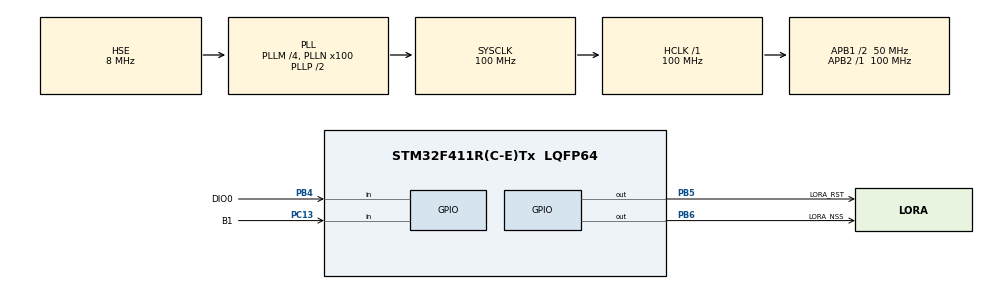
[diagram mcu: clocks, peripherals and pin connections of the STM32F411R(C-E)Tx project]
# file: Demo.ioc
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Mcu.Family=STM32F4
Mcu.Name=STM32F411R(C-E)Tx
Mcu.Package=LQFP64
NVIC.PriorityGroup=NVIC_PRIORITYGROUP_4
PA13.Mode=Serial_Wire
PA13.Signal=SYS_JTMS-SWDIO
PA14.Mode=Serial_Wire
PA14.Signal=SYS_JTCK-SWCLK
PA2.Signal=USART2_TX
PA3.Signal=USART2_RX
PA5.Signal=SPI1_SCK
PA6.Signal=SPI1_MISO
PA7.Signal=SPI1_MOSI
PB4.GPIO_Label=DIO0
PB4.Signal=GPIO_Input
PB5.GPIO_Label=LORA_RST
PB5.PinState=GPIO_PIN_SET
PB5.Signal=GPIO_Output
PB6.GPIO_Label=LORA_NSS
PB6.PinState=GPIO_PIN_SET
PB6.Signal=GPIO_Output
PB8.Signal=I2C1_SCL
PB9.Signal=I2C1_SDA
PC13-ANTI_TAMP.GPIO_Label=B1
PC13-ANTI_TAMP.GPIO_PuPd=GPIO_PULLUP
PC13-ANTI_TAMP.Signal=GPIO_Input
PH0\ -\ OSC_IN.Mode=HSE-External-Clock-Source
PH0\ -\ OSC_IN.Signal=RCC_OSC_IN
ProjectManager.HeapSize=0x200
ProjectManager.StackSize=0x400
ProjectManager.TargetToolchain=MDK-ARM V5.32
RCC.48MHZClocksFreq_Value=50000000
RCC.AHBFreq_Value=100000000
RCC.APB1CLKDivider=RCC_HCLK_DIV2
RCC.APB1Freq_Value=50000000
RCC.APB1TimFreq_Value=100000000
RCC.APB2Freq_Value=100000000
RCC.APB2TimFreq_Value=100000000
RCC.CortexFreq_Value=100000000
RCC.HCLKFreq_Value=100000000
RCC.HSE_VALUE=8000000
RCC.HSI_VALUE=16000000
RCC.LSE_VALUE=32768
RCC.PLLM=4
RCC.PLLN=100
RCC.PLLP=RCC_PLLP_DIV2
RCC.PLLQ=4
RCC.PLLSourceVirtual=RCC_PLLSOURCE_HSE
RCC.SYSCLKFreq_VALUE=100000000
RCC.SYSCLKSource=RCC_SYSCLKSOURCE_PLLCLK
RCC.VCOOutputFreq_Value=200000000
board=custom

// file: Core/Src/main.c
/* USER CODE BEGIN Header */
/**
  ******************************************************************************
  * @file           : main.c
  * @brief          : Main program body
  ******************************************************************************
  * @attention
  *
  * Copyright (c) 2026 STMicroelectronics.
  * All rights reserved.
  *
  * This software is licensed under terms that can be found in the LICENSE file
  * in the root directory of this software component.
  * If no LICENSE file comes with this software, it is provided AS-IS.
  *
  ******************************************************************************
  */
/* USER CODE END Header */
#include "main.h"

/* USER CODE BEGIN Includes */
#include <stdio.h>
#include <string.h>
#include <stdlib.h>
#include "airtune_infer.h"
#include "ina226.h"
#include "lora_sx1278.h"
/* USER CODE END Includes */

/* USER CODE BEGIN PV */
UART_HandleTypeDef huart2;
I2C_HandleTypeDef hi2c1;
SPI_HandleTypeDef hspi1;
/* USART2/I2C1/SPI1 均由 CubeMX 生成的 HAL 驱动初始化（见自动生成的 MX_USART2_UART_Init 等），
   句柄 huart2 由 CubeMX 在自动段声明，本段只放用户私有变量。 */

/* ---- 可调全局参数：串口 CLI 用 set 命令修改的就是 g_params ---- */
typedef struct {
  int tx_power;     /* LoRa 发射功率 dBm，范围 2..20 */
  int sf;           /* 扩频因子，范围 7..12 */
  int bw;           /* 带宽 kHz：125 / 250 / 500 */
  int heartbeat_ms; /* 心跳打印周期(ms)，最小 100 */
  float threshold;  /* TinyML 异常检测阈值 */
  int shunt_mohm;   /* INA226 采样电阻毫欧值：模块丝印 R010=10 / R100=100 */
} params_t;
params_t g_params = {17, 7, 125, 1000, 0.85f, 10};

#define LORA_RX_PRINT_MAX 65   /* lora recv 打印缓冲（64 载荷 + NUL） */

/* CLI 行缓冲（非阻塞轮询用） */
static char cli_line[64];
static int cli_len = 0;
static uint32_t cli_last_char_ms = 0;   /* 最近一次收到字符的时间，用于空闲超时执行 */
static uint32_t cli_last_alive = 0;

/* AirTune 演示样本：4 个典型链路工况（归一化特征），bench/infer 用 */
static const float at_demo_x[4][AT_IN] = {
  { 0.6f, 0.6f,-0.5f,-0.2f, 0.5f,-0.1f, 0.7f, 0.7f, 0.0f,-0.5f},
  { 0.1f, 0.1f,-0.1f, 0.0f, 0.1f, 0.2f,-0.1f, 0.1f, 0.0f,-0.1f},
  {-0.2f,-0.1f, 0.1f, 0.1f, 0.2f, 0.4f,-0.2f,-0.2f, 0.0f,-0.2f},
  {-0.7f,-0.6f, 0.6f, 0.3f,-0.6f, 0.3f,-0.6f,-0.6f, 0.0f,-0.6f},
};
static const char *at_mode_name[4] = {
  "SF7/BW500 (fast)", "SF7/BW125 (balanced)", "SF10/BW125 (mid)", "SF12/BW125 (far)"
};
/* USER CODE END PV */

void SystemClock_Config(void);
static void MX_GPIO_Init(void);
/* USER CODE BEGIN PFP */
void MX_USART2_UART_Init(void);
void MX_I2C1_Init(void);
void MX_SPI1_Init(void);

void cli_poll(void);
void cli_process(char *line);

void DWT_Init(void);
void DWT_Reset(void);
uint32_t DWT_GetCycles(void);
/* USER CODE END PFP */

int main(void)
{

  /* MCU Configuration--------------------------------------------------------*/

  /* Reset of all peripherals, Initializes the Flash interface and the Systick. */
  HAL_Init();

  /* Configure the system clock */
  SystemClock_Config();

  /* Initialize all configured peripherals */
  MX_GPIO_Init();
  /* USER CODE BEGIN 2 */
MX_I2C1_Init();     /* I2C1: PB8/PB9 -> INA226 */
  MX_SPI1_Init();    /* SPI1: PA5/6/7 -> LoRa Ra-02 */
  MX_USART2_UART_Init();
  printf("[BOOT] HCLK=%lu PCLK1=%lu PCLK2=%lu\r\n",
         HAL_RCC_GetHCLKFreq(), HAL_RCC_GetPCLK1Freq(), HAL_RCC_GetPCLK2Freq());

  DWT_Init();   /* AIRTUNE_ML: 使能 DWT CYCCNT */
  if (ina226_init() == 0)
    printf("[BOOT] INA226 OK on I2C1 @0x%02X (man=TI die=0x2260)\r\n", ina226_addr());
  else
    printf("[BOOT] INA226 NOT found on I2C1: run 'i2cscan'; check SCL=PB8 SDA=PB9 VCC=3V3\r\n");
  if (lora_init() == 0x12)
    printf("[BOOT] LoRa SX1278 OK: ver=0x12 %.1fMHz sf7 bw125 17dBm (type 'lora status')\r\n",
           lora_info()->freq_mhz);
  else
    printf("[BOOT] LoRa SX1278 not found: RegVersion=0x%02X (expect 0x12) check SPI1 wiring (PA5/6/7, NSS=PB6, RST=PB5)\r\n",
           lora_info()->version);
/* USER CODE END 2 */

  /* Infinite loop */
  while (1)
  {

    /* USER CODE BEGIN 3 */
    cli_poll();   /* 非阻塞读串口：收到回车即解析命令，不阻塞主循环 */

    /* 心跳：按 g_params.heartbeat_ms 周期打印（不再用 HAL_Delay 阻塞，CLI 才能实时响应） */
    if (HAL_GetTick() - cli_last_alive >= (uint32_t)g_params.heartbeat_ms)
    {
      cli_last_alive = HAL_GetTick();
      HAL_GPIO_TogglePin(LORA_NSS_GPIO_Port, LORA_NSS_Pin);
      printf("[ALIVE] tick=%lu HCLK=%lu hb=%dms tx=%ddBm sf=%d th=%.2f\r\n",
             HAL_GetTick(), HAL_RCC_GetHCLKFreq(),
             g_params.heartbeat_ms, g_params.tx_power, g_params.sf,
             (double)g_params.threshold);
    }
/* USER CODE END 3 */
  }
  /* USER CODE END 3 */
}

void SystemClock_Config(void)
{
  RCC_OscInitTypeDef RCC_OscInitStruct = {0};
  RCC_ClkInitTypeDef RCC_ClkInitStruct = {0};

  /** Configure the main internal regulator output voltage
  */
  __HAL_RCC_PWR_CLK_ENABLE();
  __HAL_PWR_VOLTAGESCALING_CONFIG(PWR_REGULATOR_VOLTAGE_SCALE1);

  /** Initializes the RCC Oscillators according to the specified parameters
  * in the RCC_OscInitTypeDef structure.
  */
  RCC_OscInitStruct.OscillatorType = RCC_OSCILLATORTYPE_HSE;
  RCC_OscInitStruct.HSEState = RCC_HSE_BYPASS;
  RCC_OscInitStruct.PLL.PLLState = RCC_PLL_ON;
  RCC_OscInitStruct.PLL.PLLSource = RCC_PLLSOURCE_HSE;
  RCC_OscInitStruct.PLL.PLLM = 4;
  RCC_OscInitStruct.PLL.PLLN = 100;
  RCC_OscInitStruct.PLL.PLLP = RCC_PLLP_DIV2;
  RCC_OscInitStruct.PLL.PLLQ = 4;
  if (HAL_RCC_OscConfig(&RCC_OscInitStruct) != HAL_OK)
  {
    Error_Handler();
  }

  /** Initializes the CPU, AHB and APB buses clocks
  */
  RCC_ClkInitStruct.ClockType = RCC_CLOCKTYPE_HCLK|RCC_CLOCKTYPE_SYSCLK
                              |RCC_CLOCKTYPE_PCLK1|RCC_CLOCKTYPE_PCLK2;
  RCC_ClkInitStruct.SYSCLKSource = RCC_SYSCLKSOURCE_PLLCLK;
  RCC_ClkInitStruct.AHBCLKDivider = RCC_SYSCLK_DIV1;
  RCC_ClkInitStruct.APB1CLKDivider = RCC_HCLK_DIV2;
  RCC_ClkInitStruct.APB2CLKDivider = RCC_HCLK_DIV1;

  if (HAL_RCC_ClockConfig(&RCC_ClkInitStruct, FLASH_LATENCY_3) != HAL_OK)
  {
    Error_Handler();
  }
}

static void MX_GPIO_Init(void)
{
  GPIO_InitTypeDef GPIO_InitStruct = {0};

  /* GPIO Ports Clock Enable */
  __HAL_RCC_GPIOC_CLK_ENABLE();
  __HAL_RCC_GPIOH_CLK_ENABLE();
  __HAL_RCC_GPIOA_CLK_ENABLE();
  __HAL_RCC_GPIOB_CLK_ENABLE();

  /*Configure GPIO pin Output Level */
  HAL_GPIO_WritePin(GPIOB, LORA_RST_Pin|LORA_NSS_Pin, GPIO_PIN_SET);

  /*Configure GPIO pin : B1_Pin */
  GPIO_InitStruct.Pin = B1_Pin;
  GPIO_InitStruct.Mode = GPIO_MODE_INPUT;
  GPIO_InitStruct.Pull = GPIO_PULLUP;
  HAL_GPIO_Init(B1_GPIO_Port, &GPIO_InitStruct);

  /*Configure GPIO pins : PA2 PA3 */
  GPIO_InitStruct.Pin = GPIO_PIN_2|GPIO_PIN_3;
  GPIO_InitStruct.Mode = GPIO_MODE_AF_PP;
  GPIO_InitStruct.Pull = GPIO_NOPULL;
  GPIO_InitStruct.Speed = GPIO_SPEED_FREQ_VERY_HIGH;
  GPIO_InitStruct.Alternate = GPIO_AF7_USART2;
  HAL_GPIO_Init(GPIOA, &GPIO_InitStruct);

  /*Configure GPIO pins : PA5 PA6 PA7 */
  GPIO_InitStruct.Pin = GPIO_PIN_5|GPIO_PIN_6|GPIO_PIN_7;
  GPIO_InitStruct.Mode = GPIO_MODE_AF_PP;
  GPIO_InitStruct.Pull = GPIO_NOPULL;
  GPIO_InitStruct.Speed = GPIO_SPEED_FREQ_VERY_HIGH;
  GPIO_InitStruct.Alternate = GPIO_AF5_SPI1;
  HAL_GPIO_Init(GPIOA, &GPIO_InitStruct);

  /*Configure GPIO pin : DIO0_Pin */
  GPIO_InitStruct.Pin = DIO0_Pin;
  GPIO_InitStruct.Mode = GPIO_MODE_INPUT;
  GPIO_InitStruct.Pull = GPIO_NOPULL;
  HAL_GPIO_Init(DIO0_GPIO_Port, &GPIO_InitStruct);

  /*Configure GPIO pins : LORA_RST_Pin LORA_NSS_Pin */
  GPIO_InitStruct.Pin = LORA_RST_Pin|LORA_NSS_Pin;
  GPIO_InitStruct.Mode = GPIO_MODE_OUTPUT_PP;
  GPIO_InitStruct.Pull = GPIO_NOPULL;
  GPIO_InitStruct.Speed = GPIO_SPEED_FREQ_LOW;
  HAL_GPIO_Init(GPIOB, &GPIO_InitStruct);

  /*Configure GPIO pins : PB8 PB9 */
  GPIO_InitStruct.Pin = GPIO_PIN_8|GPIO_PIN_9;
  GPIO_InitStruct.Mode = GPIO_MODE_AF_OD;
  GPIO_InitStruct.Pull = GPIO_NOPULL;
  GPIO_InitStruct.Speed = GPIO_SPEED_FREQ_VERY_HIGH;
  GPIO_InitStruct.Alternate = GPIO_AF4_I2C1;
  HAL_GPIO_Init(GPIOB, &GPIO_InitStruct);

}

/* USER CODE BEGIN 4 */
void MX_USART2_UART_Init(void)
{
  __HAL_RCC_USART2_CLK_ENABLE();
  huart2.Instance = USART2;
  huart2.Init.BaudRate = 115200;
  huart2.Init.WordLength = UART_WORDLENGTH_8B;
  huart2.Init.StopBits = UART_STOPBITS_1;
  huart2.Init.Parity = UART_PARITY_NONE;
  huart2.Init.Mode = UART_MODE_TX_RX;
  huart2.Init.HwFlowCtl = UART_HWCONTROL_NONE;
  huart2.Init.OverSampling = UART_OVERSAMPLING_16;
  if (HAL_UART_Init(&huart2) != HAL_OK)
  {
    Error_Handler();
  }
}

void MX_I2C1_Init(void)
{
  __HAL_RCC_I2C1_CLK_ENABLE();
  hi2c1.Instance = I2C1;
  hi2c1.Init.ClockSpeed = 100000;
  hi2c1.Init.DutyCycle = I2C_DUTYCYCLE_2;
  hi2c1.Init.OwnAddress1 = 0;
  hi2c1.Init.AddressingMode = I2C_ADDRESSINGMODE_7BIT;
  hi2c1.Init.DualAddressMode = I2C_DUALADDRESS_DISABLE;
  hi2c1.Init.OwnAddress2 = 0;
  hi2c1.Init.GeneralCallMode = I2C_GENERALCALL_DISABLE;
  hi2c1.Init.NoStretchMode = I2C_NOSTRETCH_DISABLE;
  if (HAL_I2C_Init(&hi2c1) != HAL_OK)
  {
    Error_Handler();
  }
}

void MX_SPI1_Init(void)
{
  __HAL_RCC_SPI1_CLK_ENABLE();
  hspi1.Instance = SPI1;
  hspi1.Init.Mode = SPI_MODE_MASTER;
  hspi1.Init.Direction = SPI_DIRECTION_2LINES;
  hspi1.Init.DataSize = SPI_DATASIZE_8BIT;
  hspi1.Init.CLKPolarity = SPI_POLARITY_LOW;
  hspi1.Init.CLKPhase = SPI_PHASE_1EDGE;
  hspi1.Init.NSS = SPI_NSS_SOFT;
  hspi1.Init.BaudRatePrescaler = SPI_BAUDRATEPRESCALER_16;
  hspi1.Init.FirstBit = SPI_FIRSTBIT_MSB;
  hspi1.Init.TIMode = SPI_TIMODE_DISABLE;
  hspi1.Init.CRCCalculation = SPI_CRCCALCULATION_DISABLE;
  hspi1.Init.CRCPolynomial = 10;
  if (HAL_SPI_Init(&hspi1) != HAL_OK)
  {
    Error_Handler();
  }
}

/* Keil 下 printf 重定向：需在 Options for Target -> Target 勾选 Use MicroLIB。
   串口已由 CubeMX 生成的 MX_USART2_UART_Init（HAL_UART）初始化，这里直接转发。 */
int fputc(int ch, FILE *f)
{
  (void)f;
  HAL_UART_Transmit(&huart2, (uint8_t *)&ch, 1, HAL_MAX_DELAY);
  return ch;
}

/* ===================== 串口 CLI 框架（begin） ===================== */
/* 非阻塞轮询：每次调一次，有字符就收；收到 \r/\n 才解析整行。
   用 HAL_UART_Receive(...,0) 立即返回，不阻塞主循环。 */
void cli_poll(void)
{
  /* 空闲超时自动执行：串口工具若不发 \r/\n，停止输入 1.5s 后也执行本行 */
  if (cli_len > 0 && (HAL_GetTick() - cli_last_char_ms) >= 1500)
  {
    cli_line[cli_len] = '\0';
    printf("\r\n");
    cli_process(cli_line);
    cli_len = 0;
  }
  uint8_t ch;
  if (HAL_UART_Receive(&huart2, &ch, 1, 0) == HAL_OK)
  {
    if (ch == '\r' || ch == '\n')
    {
      if (cli_len > 0)
      {
        cli_line[cli_len] = '\0';
        printf("\r\n");
        cli_process(cli_line);
        cli_len = 0;
      }
    }
    else if (ch == '\b' || ch == 0x7F)   /* 退格 */
    {
      if (cli_len > 0) { cli_len--; printf("\b \b"); }
    }
    else if (cli_len < (int)sizeof(cli_line) - 1)
    {
      cli_line[cli_len++] = (char)ch;
      cli_last_char_ms = HAL_GetTick();
      printf("%c", ch);   /* 回显，方便看自己输了啥 */
    }
  }
}

/* 命令解析：help / get [name] / set <name> <val> / reboot */
void cli_process(char *line)
{
  char *tok = strtok(line, " ");
  if (tok == NULL) return;

  if (strcmp(tok, "help") == 0)
  {
    printf("Commands:\r\n");
    printf("  help              show this help\r\n");
    printf("  get [name]        print all or one param\r\n");
    printf("  set <name> <val>  change a param (live)\r\n");
    printf("  reboot            reset MCU\r\n");
    printf("  infer [k]         run one AirTune prediction (k=0..3)\r\n");
    printf("  bench             measure inference latency via DWT CYCCNT\r\n");
    printf("  ram               report model Flash KB + stack depth\r\n");
    printf("  log <n> <ms>      stream n CSV telemetry samples (Python capture)\r\n");
    printf("  power             read INA226 Vbus/current/power (one shot)\r\n");
    printf("  pwrlog <n> <ms>   stream n INA226 CSV samples (Python capture)\r\n");
    printf("  i2cscan           scan I2C1 bus for ACKing devices\r\n");
    printf("  i2cpins           read PB8/PB9 pin level (wiring check, no DMM)\r\n");
    printf("  lora init|status|send <text>|recv [ms]|freq <mhz>|apply|regs [s e]\r\n");
    printf("Params: tx_power sf bw heartbeat_ms threshold shunt_mohm\r\n");
  }
  else if (strcmp(tok, "get") == 0)
  {
    char *name = strtok(NULL, " ");
    if (name == NULL)
    {
      printf("tx_power=%d sf=%d bw=%d heartbeat_ms=%d threshold=%.3f shunt_mohm=%d\r\n",
             g_params.tx_power, g_params.sf, g_params.bw,
             g_params.heartbeat_ms, (double)g_params.threshold, g_params.shunt_mohm);
    }
    else if (strcmp(name, "tx_power") == 0)     printf("tx_power=%d\r\n", g_params.tx_power);
    else if (strcmp(name, "sf") == 0)           printf("sf=%d\r\n", g_params.sf);
    else if (strcmp(name, "bw") == 0)           printf("bw=%d\r\n", g_params.bw);
    else if (strcmp(name, "heartbeat_ms") == 0) printf("heartbeat_ms=%d\r\n", g_params.heartbeat_ms);
    else if (strcmp(name, "threshold") == 0)    printf("threshold=%.3f\r\n", (double)g_params.threshold);
    else if (strcmp(name, "shunt_mohm") == 0)   printf("shunt_mohm=%d\r\n", g_params.shunt_mohm);
    else printf("unknown param: %s\r\n", name);
  }
  else if (strcmp(tok, "set") == 0)
  {
    char *name = strtok(NULL, " ");
    char *val  = strtok(NULL, " ");
    if (name == NULL || val == NULL) { printf("usage: set <name> <val>\r\n"); return; }
    int iv = atoi(val);
    float fv = (float)atof(val);
    if (strcmp(name, "tx_power") == 0) {
      if (iv < 2 || iv > 20) printf("tx_power out of range 2..20\r\n");
      else { g_params.tx_power = iv;
             if (lora_is_up()) lora_set_power(iv);
             printf("tx_power=%d%s\r\n", iv, lora_is_up() ? " (radio applied)" : ""); }
    } else if (strcmp(name, "sf") == 0) {
      if (iv < 7 || iv > 12) printf("sf out of range 7..12\r\n");
      else { g_params.sf = iv;
             if (lora_is_up()) lora_set_sf(iv);
             printf("sf=%d%s\r\n", iv, lora_is_up() ? " (radio applied)" : ""); }
    } else if (strcmp(name, "bw") == 0) {
      g_params.bw = iv;
      if (lora_is_up()) lora_set_bw(iv);
      printf("bw=%d%s\r\n", iv, lora_is_up() ? " (radio applied)" : "");
    } else if (strcmp(name, "heartbeat_ms") == 0) {
      if (iv < 100) printf("heartbeat_ms min 100\r\n");
      else { g_params.heartbeat_ms = iv; printf("heartbeat_ms=%d\r\n", iv); }
    } else if (strcmp(name, "threshold") == 0) {
      g_params.threshold = fv; printf("threshold=%.3f\r\n", (double)fv);
    } else if (strcmp(name, "shunt_mohm") == 0) {
      if (iv < 1 || iv > 1000) printf("shunt_mohm out of range 1..1000 (mOhm)\r\n");
      else { g_params.shunt_mohm = iv; ina226_set_shunt_mohm((uint32_t)iv);
             printf("shunt_mohm=%d (CAL rewritten)\r\n", iv); }
    } else {
      printf("unknown param: %s\r\n", name);
    }
  }
  else if (strcmp(tok, "reboot") == 0)
  {
    printf("rebooting...\r\n");
    HAL_Delay(50);
    HAL_NVIC_SystemReset();
  }  else if (strcmp(tok, "infer") == 0)
  {
    char *ks = strtok(NULL, " ");
    int k = 0;
    if (ks) { int v = atoi(ks); if (v >= 0 && v < 4) k = v; }
    int cls; airtune_predict_norm(at_demo_x[k], &cls);
    printf("infer mode%d -> pred=%d %s\r\n", k, cls, at_mode_name[cls]);
  }
  else if (strcmp(tok, "bench") == 0)
  {
    const int N = 200; int cls; uint32_t t0, t1;
    uint32_t best = 0xFFFFFFFFu, worst = 0, sum = 0;
    uint32_t sp_caller = __get_MSP();
    for (int i = 0; i < N; i++) {
      DWT_Reset(); t0 = DWT_GetCycles();
      airtune_predict_norm(at_demo_x[0], &cls);
      t1 = DWT_GetCycles();
      uint32_t dt = t1 - t0; sum += dt; if (dt < best) best = dt; if (dt > worst) worst = dt;
    }
    double hz = (double)SystemCoreClock;
    printf("[BENCH] N=%d min=%lu cyc (%.2f us) avg=%.2f us worst=%.2f us @%.0fMHz\r\n",
           N, best, (double)best/hz*1e6, (double)(sum/N)/hz*1e6, (double)worst/hz*1e6, hz/1e6);
    uint32_t depth = sp_caller - g_at_sp_entry;
    printf("[BENCH] weights Flash=%.2f KB  infer stack=%lu B  (const weights use 0 RAM)\r\n",
           (double)AT_MODEL_FLASH_BYTES/1024.0, depth);
  }
  else if (strcmp(tok, "ram") == 0)
  {
    int cls; uint32_t sp_caller = __get_MSP();
    airtune_predict_norm(at_demo_x[0], &cls);
    uint32_t depth = sp_caller - g_at_sp_entry;
    printf("[RAM] model const(Flash)=%d B (%.2f KB)  infer stack=%lu B  weights RAM=0\r\n",
           (int)AT_MODEL_FLASH_BYTES, (double)AT_MODEL_FLASH_BYTES/1024.0, depth);
    printf("[RAM] weights/bias/scales all const -> in Flash, 0 B RAM at runtime\r\n");
  }
  else if (strcmp(tok, "log") == 0)
  {
    char *ns = strtok(NULL, " ");
    char *ms = strtok(NULL, " ");
    int n = ns ? atoi(ns) : 50;
    int period = ms ? atoi(ms) : 20;
    if (n < 1) n = 1;        if (n > 2000) n = 2000;
    if (period < 1) period = 1;
    printf("LOG_BEGIN %d %d\r\n", n, period);
    for (int i = 0; i < n; i++) {
      float x[AT_IN];
      for (int j = 0; j < AT_IN; j++) x[j] = at_demo_x[i & 3][j];
      int cls;
      DWT_Reset();
      uint32_t t0 = DWT_GetCycles();
      airtune_predict_norm(x, &cls);
      uint32_t cyc = DWT_GetCycles() - t0;
      printf("LOG,%lu,%d,%d,%lu,%d,%d\r\n",
             (unsigned long)HAL_GetTick(), i & 3, cls, (unsigned long)cyc,
             g_params.tx_power, g_params.sf);
      HAL_Delay((uint32_t)period);
    }
    printf("LOG_END\r\n");
  }
  else if (strcmp(tok, "power") == 0)
  {
    ina226_t pwr;
    uint16_t man = 0, die = 0;
    if (ina226_read_all(&pwr) == 0 && ina226_probe(&man, &die) == 0)
    {
      printf("[PWR] INA226@0x%02X man=0x%04X die=0x%04X cfg=0x%04X cal=0x%04X OK\r\n",
             ina226_addr(), man, die, pwr.config, pwr.calib);
      printf("[PWR] Vbus=%ld mV  Vshunt=%ld uV  I=%ld mA  P=%ld mW  (shunt=%d mOhm)\r\n",
             (long)pwr.vbus_mV, (long)pwr.vshunt_uV, (long)pwr.current_mA,
             (long)pwr.power_mW, g_params.shunt_mohm);
    }
    else
    {
      printf("[PWR] INA226 read fail @0x%02X on I2C1: run 'i2cscan'; check SCL=PB8 SDA=PB9 VCC=3V3 GND\r\n", ina226_addr());
    }
  }
  else if (strcmp(tok, "pwrlog") == 0)
  {
    char *ns = strtok(NULL, " ");
    char *ms = strtok(NULL, " ");
    int n = ns ? atoi(ns) : 100;
    int period = ms ? atoi(ms) : 20;
    if (n < 1) n = 1;        if (n > 2000) n = 2000;
    if (period < 1) period = 1;
    printf("PWR_BEGIN %d %d\r\n", n, period);
    for (int i = 0; i < n; i++) {
      ina226_t p;
      if (ina226_read_all(&p) == 0)
        printf("PWR,%lu,%ld,%ld,%ld,%ld\r\n",
               (unsigned long)HAL_GetTick(), (long)p.vbus_mV,
               (long)p.current_mA, (long)p.power_mW, (long)p.vshunt_uV);
      else
        printf("PWR,%lu,-1,-1,-1,-1\r\n", (unsigned long)HAL_GetTick());
      HAL_Delay((uint32_t)period);
    }
    printf("PWR_END\r\n");
  }
  else if (strcmp(tok, "i2cscan") == 0)
  {
    /* 外设健康快照：state=32(0x20)=READY；CR1 bit0=PE 使能；CR2=0x0032 表示 50MHz APB1；BUSY=0 总线空闲 */
    printf("[I2C] state=%d lock=%d CR1=0x%04lX CR2=0x%04lX SR2=0x%04lX BUSY=%d\r\n",
           (int)hi2c1.State, (int)hi2c1.Lock,
           (unsigned long)(hi2c1.Instance->CR1 & 0xFFFFu),
           (unsigned long)(hi2c1.Instance->CR2 & 0xFFFFu),
           (unsigned long)(hi2c1.Instance->SR2 & 0xFFFFu),
           (hi2c1.Instance->SR2 & I2C_SR2_BUSY) ? 1 : 0);
    HAL_I2C_DeInit(&hi2c1);   /* 重初始化，排除启动探测失败留下的锁死状态 */
    HAL_I2C_Init(&hi2c1);
    printf("[I2C] re-init ok, scanning 0x08..0x77 on I2C1 (PB8=SCL PB9=SDA)...\r\n");
    int found = 0;
    for (int a7 = 0x08; a7 <= 0x77; a7++)
    {
      if (HAL_I2C_IsDeviceReady(&hi2c1, (uint16_t)(a7 << 1), 2, 10) == HAL_OK)
      {
        printf("[I2C] ACK @ 0x%02X\r\n", a7);
        found++;
      }
    }
    if (found == 0)
      printf("[I2C] none -> check wiring/power: SDA<->PB9 SCL<->PB8 VCC<->3V3 GND<->GND\r\n");
    else
      printf("[I2C] %d device(s) found\r\n", found);
  }
  else if (strcmp(tok, "lora") == 0)
  {
    char *sub = strtok(NULL, " ");
    if (sub == NULL) {
      printf("usage: lora init|status|send <text>|recv [ms]|freq <mhz>|apply|regs [s e]\r\n");
    } else if (strcmp(sub, "init") == 0) {
      int v = lora_init();
      if (v == 0x12)
        printf("[LORA] SX1278 OK ver=0x12 %.1fMHz sf=%d bw=%d tx=%ddBm\r\n",
               lora_info()->freq_mhz, lora_info()->sf,
               lora_info()->bw_khz, lora_info()->tx_dbm);
      else {
        printf("[LORA] init FAIL: RegVersion=0x%02X (expect 0x12)\r\n", lora_info()->version);
        printf("[LORA] check: VCC=3V3 GND SCK=PA5 MISO=PA6 MOSI=PA7 NSS=PB6 RST=PB5\r\n");
      }
    } else if (strcmp(sub, "status") == 0) {
      const lora_info_t *li = lora_info();
      printf("[LORA] %s ver=0x%02X freq=%.1fMHz sf=%d bw=%dkHz cr=4/5 tx=%ddBm\r\n",
             lora_is_up() ? "UP" : "DOWN", li->version, li->freq_mhz,
             li->sf, li->bw_khz, li->tx_dbm);
      if (lora_is_up())
        printf("[LORA] last pkt: RSSI=%d dBm  SNR=%.1f dB\r\n", li->last_rssi, li->last_snr);
    } else if (strcmp(sub, "send") == 0) {
      char *txt = sub + strlen(sub) + 1;      /* send 后面的原文 */
      while (*txt == ' ') txt++;
      if (*txt == 0) { printf("usage: lora send <text>\r\n"); }
      else {
        int len = (int)strlen(txt);
        int rc = lora_send((const uint8_t *)txt, len);
        if (rc == 0) printf("[LORA] TX done: %d bytes (RSSI unknown on TX)\r\n", len);
        else printf("[LORA] TX timeout/fail (radio up? antenna connected?)\r\n");
      }
    } else if (strcmp(sub, "recv") == 0) {
      char *ms = strtok(NULL, " ");
      int tmo = ms ? atoi(ms) : 2000;
      uint8_t buf[LORA_RX_PRINT_MAX];
      int rssi = 0; float snr = 0.0f;
      int n = lora_recv(buf, LORA_RX_PRINT_MAX - 1, tmo, &rssi, &snr);
      if (n > 0) {
        buf[n] = 0;
        printf("[LORA] RX %d bytes: %s  (RSSI=%d dBm SNR=%.1f dB)\r\n", n, buf, rssi, snr);
      } else if (n == -2) {
        printf("[LORA] RX CRC error\r\n");
      } else {
        printf("[LORA] RX timeout (%d ms)\r\n", tmo);
      }
    } else if (strcmp(sub, "freq") == 0) {
      char *m = strtok(NULL, " ");
      float f = m ? (float)atof(m) : 0.0f;
      if (f < 137.0f || f > 1020.0f) printf("freq out of range 137..1020 MHz\r\n");
      else { lora_set_freq(f); printf("[LORA] freq=%.1f MHz (both ends must match)\r\n", f); }
    } else if (strcmp(sub, "regs") == 0) {
      int a = 0x01, b = 0x2F;
      char *p1 = strtok(NULL, " ");
      char *p2 = strtok(NULL, " ");
      if (p1) a = (int)strtol(p1, NULL, 0);
      if (p2) b = (int)strtol(p2, NULL, 0);
      if (a < 0x00) a = 0x00;
      if (a > 0x6F) a = 0x6F;
      if (b < a)    b = a;
      if (b > 0x6F) b = 0x6F;
      lora_dump_regs((uint8_t)a, (uint8_t)b);
      printf("[LORA] ver x5: %02X %02X %02X %02X %02X (expect 12)\r\n",
             lora_read_reg(0x42), lora_read_reg(0x42), lora_read_reg(0x42),
             lora_read_reg(0x42), lora_read_reg(0x42));
    } else if (strcmp(sub, "apply") == 0) {
      if (!lora_is_up()) { printf("[LORA] radio down, run lora init first\r\n"); }
      else {
        lora_apply_params(g_params.sf, g_params.bw, g_params.tx_power);
        printf("[LORA] applied AirTune params: sf=%d bw=%d tx=%ddBm\r\n",
               g_params.sf, g_params.bw, g_params.tx_power);
      }
    } else {
      printf("unknown lora subcmd: %s\r\n", sub);
    }
  }
  else if (strcmp(tok, "i2cpins") == 0)
  {
    /* PB8/PB9 临时切普通输入(无内部上下拉)读电平，再恢复 I2C1 AF4 开漏。
       模块已上电且线路通 -> 模块上的上拉电阻应把线拉高，读到 1；
       读到 0 = 线断/松/模块没电。 */
    GPIO_InitTypeDef g = {0};
    g.Pin = GPIO_PIN_8 | GPIO_PIN_9;
    g.Mode = GPIO_MODE_INPUT;
    g.Pull = GPIO_NOPULL;
    g.Speed = GPIO_SPEED_FREQ_LOW;
    HAL_GPIO_Init(GPIOB, &g);
    HAL_Delay(2);
    int sda = HAL_GPIO_ReadPin(GPIOB, GPIO_PIN_9);
    int scl = HAL_GPIO_ReadPin(GPIOB, GPIO_PIN_8);
    printf("[I2CPIN] PB9(SDA)=%d PB8(SCL)=%d  (1=pulled high OK, 0=low/floating)\r\n", sda, scl);
    g.Mode = GPIO_MODE_AF_OD;
    g.Pull = GPIO_NOPULL;
    g.Speed = GPIO_SPEED_FREQ_VERY_HIGH;
    g.Alternate = GPIO_AF4_I2C1;
    HAL_GPIO_Init(GPIOB, &g);
    printf("[I2CPIN] PB8/PB9 restored to I2C1 AF4\r\n");
  }

  else
  {
    printf("unknown cmd: %s (type 'help')\r\n", tok);
  }
}
/* ===================== 串口 CLI 框架（end） ===================== */

/* ===================== AIRTUNE_ML: DWT + 栈测量（begin） ===================== */
void DWT_Init(void)
{
  CoreDebug->DEMCR |= CoreDebug_DEMCR_TRCENA_Msk;
  DWT->CTRL |= DWT_CTRL_CYCCNTENA_Msk;
  DWT->CYCCNT = 0;
}
void DWT_Reset(void) { DWT->CYCCNT = 0; }
uint32_t DWT_GetCycles(void) { return DWT->CYCCNT; }
/* ===================== AIRTUNE_ML: DWT + 栈测量（end） ===================== */
/* USER CODE END 4 */

void Error_Handler(void)
{
  __disable_irq();
  while (1)
  {
  }
}
